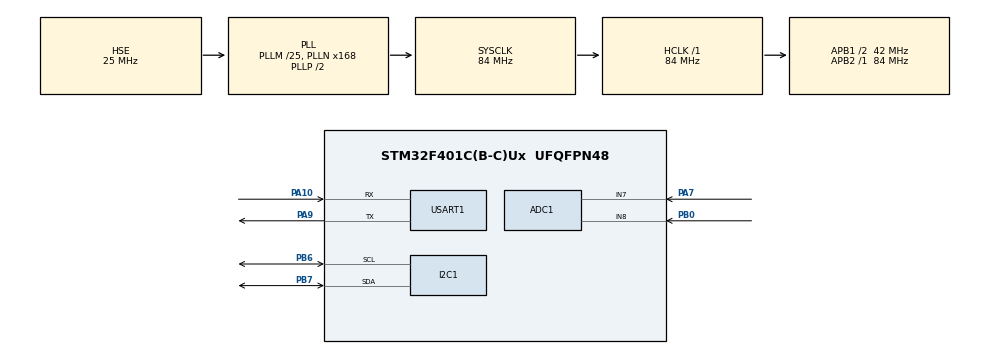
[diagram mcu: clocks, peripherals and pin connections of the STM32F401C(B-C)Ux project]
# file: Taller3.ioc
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ADC1.Channel-0\#ChannelRegularConversion=ADC_CHANNEL_7
ADC1.Channel-1\#ChannelRegularConversion=ADC_CHANNEL_8
ADC1.NbrOfConversion=2
ADC1.NbrOfConversionFlag=1
ADC1.Rank-0\#ChannelRegularConversion=1
ADC1.Rank-1\#ChannelRegularConversion=2
ADC1.SamplingTime-0\#ChannelRegularConversion=ADC_SAMPLETIME_84CYCLES
ADC1.SamplingTime-1\#ChannelRegularConversion=ADC_SAMPLETIME_84CYCLES
ADC1.master=1
I2C1.I2C_Mode=I2C_Fast
Mcu.Family=STM32F4
Mcu.Name=STM32F401C(B-C)Ux
Mcu.Package=UFQFPN48
NVIC.PriorityGroup=NVIC_PRIORITYGROUP_4
NVIC.TIM3_IRQn=true\:0\:0\:false\:false\:true\:true\:true\:true
PA10.Mode=Asynchronous
PA10.Signal=USART1_RX
PA7.Signal=ADCx_IN7
PA9.Mode=Asynchronous
PA9.Signal=USART1_TX
PB0.Signal=ADCx_IN8
PB6.Mode=I2C
PB6.Signal=I2C1_SCL
PB7.Mode=I2C
PB7.Signal=I2C1_SDA
PH0\ -\ OSC_IN.Mode=HSE-External-Oscillator
PH0\ -\ OSC_IN.Signal=RCC_OSC_IN
PH1\ -\ OSC_OUT.Mode=HSE-External-Oscillator
PH1\ -\ OSC_OUT.Signal=RCC_OSC_OUT
ProjectManager.HeapSize=0x200
ProjectManager.StackSize=0x400
ProjectManager.TargetToolchain=CMake
RCC.48MHZClocksFreq_Value=42000000
RCC.AHBFreq_Value=84000000
RCC.APB1CLKDivider=RCC_HCLK_DIV2
RCC.APB1Freq_Value=42000000
RCC.APB1TimFreq_Value=84000000
RCC.APB2Freq_Value=84000000
RCC.APB2TimFreq_Value=84000000
RCC.CortexFreq_Value=84000000
RCC.HCLKFreq_Value=84000000
RCC.HSE_VALUE=25000000
RCC.HSI_VALUE=16000000
RCC.LSE_VALUE=32768
RCC.PLLM=25
RCC.PLLN=168
RCC.PLLSourceVirtual=RCC_PLLSOURCE_HSE
RCC.SYSCLKFreq_VALUE=84000000
RCC.SYSCLKSource=RCC_SYSCLKSOURCE_PLLCLK
RCC.VCOOutputFreq_Value=168000000
SH.ADCx_IN7.0=ADC1_IN7,IN7
SH.ADCx_IN8.0=ADC1_IN8,IN8
TIM3.AutoReloadPreload=TIM_AUTORELOAD_PRELOAD_ENABLE
TIM3.Period=500
TIM3.Prescaler=840-1
USART1.VirtualMode=VM_ASYNC
VP_TIM3_VS_ClockSourceINT.Mode=Internal
board=custom

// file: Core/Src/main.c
/* USER CODE BEGIN Header */
/**
  ******************************************************************************
  * @file           : main.c
  * @brief          : Main program body
  ******************************************************************************
  * @attention
  *
  * Copyright (c) 2026 STMicroelectronics.
  * All rights reserved.
  *
  * This software is licensed under terms that can be found in the LICENSE file
  * in the root directory of this software component.
  * If no LICENSE file comes with this software, it is provided AS-IS.
  *
  ******************************************************************************
  */
/* USER CODE END Header */
#include "main.h"

/* USER CODE BEGIN Includes */
  #include "MPU6050.h"
  #include "kalman.h"
  #include "delays.h"

  #include "stdio.h"
  #include "string.h"
  #include "stdlib.h"
  #include "uart.h"
  #include "adc_x.h"
/* USER CODE END Includes */

ADC_HandleTypeDef hadc1;

I2C_HandleTypeDef hi2c1;

TIM_HandleTypeDef htim3;

UART_HandleTypeDef huart1;

/* USER CODE BEGIN PV */
  float voltaje;
  float fuente;
  char texto[100];
/* USER CODE END PV */

void SystemClock_Config(void);
static void MX_GPIO_Init(void);
static void MX_I2C1_Init(void);
static void MX_USART1_UART_Init(void);
static void MX_ADC1_Init(void);
static void MX_TIM3_Init(void);

int main(void)
{

  /* MCU Configuration--------------------------------------------------------*/

  /* Reset of all peripherals, Initializes the Flash interface and the Systick. */
  HAL_Init();

  /* Configure the system clock */
  SystemClock_Config();

  /* Initialize all configured peripherals */
  MX_GPIO_Init();
  MX_I2C1_Init();
  MX_USART1_UART_Init();
  MX_ADC1_Init();
  MX_TIM3_Init();
  /* USER CODE BEGIN 2 */

  delay_init();   //OBLIGATORIO: activa el contador DWT que usa delay_ms()
  MPU6050_init();

  //ESPERA ANTES DE CALIBRAR: el sensor se estabiliza (temperatura) y alcanzas a quitar la mano
  uartx_write_text(&huart1, "CALIBRANDO, NO MOVER...\r\n");
  HAL_Delay(3000);
  MPU6050_Calibra();

  Kalman_Init(&kalman_roll_);
  Kalman_Init(&kalman_pitch_);

  //ARRANCA LOS ANGULOS EN LA POSICION REAL (medida con el acelerometro), no en 0
  MPU6050_lee_datos();
  MPU6050_calcula_flotantes();
  MPU6050_Ace_angulos();
  giro_roll  = acel_roll;
  giro_pitch = acel_pitch;
  giro_yaw   = 0;
  compAngle_Roll  = acel_roll;
  compAngle_Pitch = acel_pitch;

  char buffer[50];
  uartx_write_text(&huart1, "INICIO\r\n");

  //MIDE CUANTO DURA TIMER_PROCEDIMIENTOS (debe ser menor al muestreo de 5 ms)
  //cuando ya tengas el dato, comenta este bloque con /* */
 /*  TIMER_MIDE();
    sprintf(texto, "Tus=%lu us    Tms=%.2f ms\r\n", (unsigned long)tmicros, tmilis);
    uartx_write_text(&huart1, texto);
    while(1);   //se queda aqui para leer el tiempo */

  TIMER_INIT();   //arranca el TIM3: cada 5 ms ejecuta TIMER_PROCEDIMIENTOS

  /* USER CODE END 2 */

  /* Infinite loop */
  /* USER CODE BEGIN WHILE */
  while (1)
  {
    //MPU6050_lee_datos();  //AHORA SE HACE EN TIMER_PROCEDIMIENTOS (timer.c)

    //MPU6050_calcula_flotantes();  //AHORA SE HACE EN TIMER_PROCEDIMIENTOS (timer.c)
    //MPU6050_Ace_angulos();  //AHORA SE HACE EN TIMER_PROCEDIMIENTOS (timer.c)
    //MPU6050_Giro_angulos();  //AHORA SE HACE EN TIMER_PROCEDIMIENTOS (timer.c)
    //Filtro_Complementario(0.98);  //AHORA SE HACE EN TIMER_PROCEDIMIENTOS (timer.c)
    //filtro_kalman();  //AHORA SE HACE EN TIMER_PROCEDIMIENTOS (timer.c)

    MANDA_ANG_ACEL(); //CAMBIO RAPIDO RUIDO
    MANDA_ANG_GIRO(); //PROBLEMA A LARGO TIEMPO DERIVA
    MANDA_ANG_COMPLE(); //MEJOR QUE LOS ANTERIORES
    MANDA_ANG_KARMAN(); //MEJOR QUE LOS ANTERIORES EL AGREGADO

    delay_ms(100);

    /* MANDA_GRAVEDADES();
    MANDA_VEL_ANGULAR();
    para velocidad angular y gravedad mas preciso pero todavia no angulos
    */

    /* MANDA_ACELERACION();
    MANDA_GIROS();
    para datos crudos de acelerometro y giroscopio
    */
    //HAL_Delay(100); si se utiliza este debe ponerse exactamente igual al tiempo de muestreo en el timer y tener en cuenta el tiempo que se demora el micro en hacer lo de arriba

    /* USER CODE END WHILE */

  }
}

void SystemClock_Config(void)
{
  RCC_OscInitTypeDef RCC_OscInitStruct = {0};
  RCC_ClkInitTypeDef RCC_ClkInitStruct = {0};

  /** Configure the main internal regulator output voltage
  */
  __HAL_RCC_PWR_CLK_ENABLE();
  __HAL_PWR_VOLTAGESCALING_CONFIG(PWR_REGULATOR_VOLTAGE_SCALE2);

  /** Initializes the RCC Oscillators according to the specified parameters
  * in the RCC_OscInitTypeDef structure.
  */
  RCC_OscInitStruct.OscillatorType = RCC_OSCILLATORTYPE_HSE;
  RCC_OscInitStruct.HSEState = RCC_HSE_ON;
  RCC_OscInitStruct.PLL.PLLState = RCC_PLL_ON;
  RCC_OscInitStruct.PLL.PLLSource = RCC_PLLSOURCE_HSE;
  RCC_OscInitStruct.PLL.PLLM = 25;
  RCC_OscInitStruct.PLL.PLLN = 168;
  RCC_OscInitStruct.PLL.PLLP = RCC_PLLP_DIV2;
  RCC_OscInitStruct.PLL.PLLQ = 4;
  if (HAL_RCC_OscConfig(&RCC_OscInitStruct) != HAL_OK)
  {
    Error_Handler();
  }

  /** Initializes the CPU, AHB and APB buses clocks
  */
  RCC_ClkInitStruct.ClockType = RCC_CLOCKTYPE_HCLK|RCC_CLOCKTYPE_SYSCLK
                              |RCC_CLOCKTYPE_PCLK1|RCC_CLOCKTYPE_PCLK2;
  RCC_ClkInitStruct.SYSCLKSource = RCC_SYSCLKSOURCE_PLLCLK;
  RCC_ClkInitStruct.AHBCLKDivider = RCC_SYSCLK_DIV1;
  RCC_ClkInitStruct.APB1CLKDivider = RCC_HCLK_DIV2;
  RCC_ClkInitStruct.APB2CLKDivider = RCC_HCLK_DIV1;

  if (HAL_RCC_ClockConfig(&RCC_ClkInitStruct, FLASH_LATENCY_2) != HAL_OK)
  {
    Error_Handler();
  }
}

static void MX_ADC1_Init(void)
{

  ADC_ChannelConfTypeDef sConfig = {0};

  /** Configure the global features of the ADC (Clock, Resolution, Data Alignment and number of conversion)
  */
  hadc1.Instance = ADC1;
  hadc1.Init.ClockPrescaler = ADC_CLOCK_SYNC_PCLK_DIV4;
  hadc1.Init.Resolution = ADC_RESOLUTION_12B;
  hadc1.Init.ScanConvMode = ENABLE;
  hadc1.Init.ContinuousConvMode = DISABLE;
  hadc1.Init.DiscontinuousConvMode = DISABLE;
  hadc1.Init.ExternalTrigConvEdge = ADC_EXTERNALTRIGCONVEDGE_NONE;
  hadc1.Init.ExternalTrigConv = ADC_SOFTWARE_START;
  hadc1.Init.DataAlign = ADC_DATAALIGN_RIGHT;
  hadc1.Init.NbrOfConversion = 2;
  hadc1.Init.DMAContinuousRequests = DISABLE;
  hadc1.Init.EOCSelection = ADC_EOC_SINGLE_CONV;
  if (HAL_ADC_Init(&hadc1) != HAL_OK)
  {
    Error_Handler();
  }

  /** Configure for the selected ADC regular channel its corresponding rank in the sequencer and its sample time.
  */
  sConfig.Channel = ADC_CHANNEL_7;
  sConfig.Rank = 1;
  sConfig.SamplingTime = ADC_SAMPLETIME_84CYCLES;
  if (HAL_ADC_ConfigChannel(&hadc1, &sConfig) != HAL_OK)
  {
    Error_Handler();
  }

  /** Configure for the selected ADC regular channel its corresponding rank in the sequencer and its sample time.
  */
  sConfig.Channel = ADC_CHANNEL_8;
  sConfig.Rank = 2;
  if (HAL_ADC_ConfigChannel(&hadc1, &sConfig) != HAL_OK)
  {
    Error_Handler();
  }

}

static void MX_I2C1_Init(void)
{

  hi2c1.Instance = I2C1;
  hi2c1.Init.ClockSpeed = 400000;
  hi2c1.Init.DutyCycle = I2C_DUTYCYCLE_2;
  hi2c1.Init.OwnAddress1 = 0;
  hi2c1.Init.AddressingMode = I2C_ADDRESSINGMODE_7BIT;
  hi2c1.Init.DualAddressMode = I2C_DUALADDRESS_DISABLE;
  hi2c1.Init.OwnAddress2 = 0;
  hi2c1.Init.GeneralCallMode = I2C_GENERALCALL_DISABLE;
  hi2c1.Init.NoStretchMode = I2C_NOSTRETCH_DISABLE;
  if (HAL_I2C_Init(&hi2c1) != HAL_OK)
  {
    Error_Handler();
  }

}

static void MX_TIM3_Init(void)
{

  TIM_ClockConfigTypeDef sClockSourceConfig = {0};
  TIM_MasterConfigTypeDef sMasterConfig = {0};

  htim3.Instance = TIM3;
  htim3.Init.Prescaler = 840-1;
  htim3.Init.CounterMode = TIM_COUNTERMODE_UP;
  htim3.Init.Period = 500;
  htim3.Init.ClockDivision = TIM_CLOCKDIVISION_DIV1;
  htim3.Init.AutoReloadPreload = TIM_AUTORELOAD_PRELOAD_ENABLE;
  if (HAL_TIM_Base_Init(&htim3) != HAL_OK)
  {
    Error_Handler();
  }
  sClockSourceConfig.ClockSource = TIM_CLOCKSOURCE_INTERNAL;
  if (HAL_TIM_ConfigClockSource(&htim3, &sClockSourceConfig) != HAL_OK)
  {
    Error_Handler();
  }
  sMasterConfig.MasterOutputTrigger = TIM_TRGO_RESET;
  sMasterConfig.MasterSlaveMode = TIM_MASTERSLAVEMODE_DISABLE;
  if (HAL_TIMEx_MasterConfigSynchronization(&htim3, &sMasterConfig) != HAL_OK)
  {
    Error_Handler();
  }

}

static void MX_USART1_UART_Init(void)
{

  huart1.Instance = USART1;
  huart1.Init.BaudRate = 115200;
  huart1.Init.WordLength = UART_WORDLENGTH_8B;
  huart1.Init.StopBits = UART_STOPBITS_1;
  huart1.Init.Parity = UART_PARITY_NONE;
  huart1.Init.Mode = UART_MODE_TX_RX;
  huart1.Init.HwFlowCtl = UART_HWCONTROL_NONE;
  huart1.Init.OverSampling = UART_OVERSAMPLING_16;
  if (HAL_UART_Init(&huart1) != HAL_OK)
  {
    Error_Handler();
  }

}

static void MX_GPIO_Init(void)
{

  /* GPIO Ports Clock Enable */
  __HAL_RCC_GPIOH_CLK_ENABLE();
  __HAL_RCC_GPIOA_CLK_ENABLE();
  __HAL_RCC_GPIOB_CLK_ENABLE();

}

void Error_Handler(void)
{
  __disable_irq();
  while (1)
  {
  }
}
